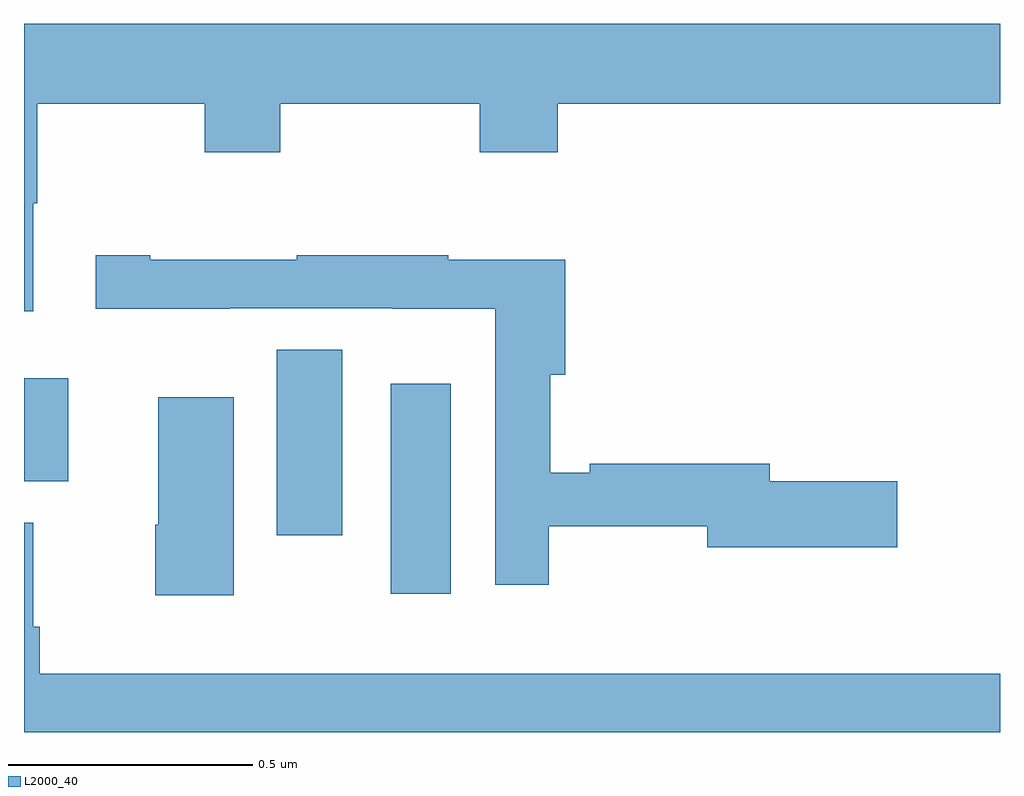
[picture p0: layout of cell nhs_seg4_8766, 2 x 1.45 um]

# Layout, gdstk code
import gdstk
lib = gdstk.Library(unit=1e-6, precision=1e-09)
def R(c, l, rs):  # rectangles x0, y0, x1, y1
    for r in rs: c.add(gdstk.rectangle(r[:2], r[2:], *l))
def P(c, l, *ps):  # polygons
    for p in ps: c.add(gdstk.Polygon(p, *l))
L2000_40 = (2000, 40)

nhs_seg4_8766 = lib.new_cell('nhs_seg4_8766')
R(nhs_seg4_8766, L2000_40, [(219.752,761.184,219.874,761.614), (219.518,761.304,219.652,761.684), (219,761.414,219.091,761.626)])
P(nhs_seg4_8766, L2000_40, [(219.019,761.984),(219.027,761.984),(219.027,762.188),(219.37,762.188),(219.37,762.089),(219.525,762.089),(219.525,762.188),(219.934,762.188),(219.934,762.089),(220.094,762.089),(220.094,762.188),(221,762.188),(221,762.352),(219,762.352),(219,761.763),(219.019,761.763)],
  [(220.075,761.322),(220.4,761.322),(220.4,761.279),(220.789,761.279),(220.789,761.414),(220.528,761.414),(220.528,761.45),(220.159,761.45),(220.159,761.432),(220.078,761.432),(220.078,761.633),(220.109,761.633),(220.109,761.868),(219.869,761.868),(219.869,761.878),(219.559,761.878),(219.559,761.868),(219.259,761.868),(219.259,761.878),(219.147,761.878),(219.147,761.768),(219.422,761.768),(219.422,761.769),(219.756,761.769),(219.756,761.768),(219.966,761.768),(219.966,761.202),(220.075,761.202)],
  [(219.43,761.587),(219.275,761.587),(219.275,761.325),(219.269,761.325),(219.269,761.181),(219.43,761.181)],
  [(221,761.02),(219.032,761.02),(219.032,761.116),(219.019,761.116),(219.019,761.329),(219,761.329),(219,760.9),(221,760.9)])

lib.write_gds('nhs_seg4_8766.gds')
